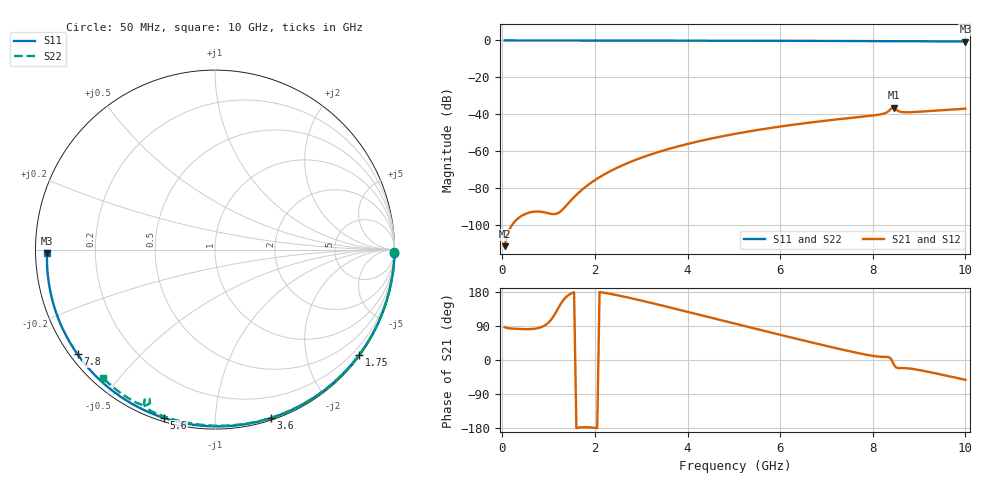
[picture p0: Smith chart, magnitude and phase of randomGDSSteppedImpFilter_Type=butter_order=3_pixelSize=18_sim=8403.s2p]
! freq	dB(S11)	phase(S11)	dB(S12)	phase(S12)
!  dB(S21)	phase(S21)	dB(S22)	phase(S22)
!S-par simulation data
#  GHz  S  DB  R 50
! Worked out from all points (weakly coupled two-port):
!   200 points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, 50 MHz to 10 GHz, reference 50 ohm
!   highest |S21| = -36.46 dB at 8.45 GHz (marker M1); lowest = -111.7 dB at 50 MHz (marker M2)
!   lowest |S11| = -0.6 dB at 10 GHz (marker M3), VSWR 30.31, Z = 1.65 - j0.503 ohm
!   |S11| at or under -10 dB: nowhere
!   |S22| runs from -0.8 to 0.0 dB; largest |S21 - S12| = 0
!   S11 on the Smith chart (normalised r, x): 50 MHz: open; 1.75 GHz: 0.03, -3.08; 3.6 GHz: 0.02, -1.38; 5.6 GHz: 0.02, -0.74; 7.8 GHz: 0.02, -0.34; 10 GHz: 0.03, -0.01
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0.05  -0.00 -1.1  -111.73 86.6  -111.73 86.6  -0.00 -0.8
0.85  -0.02 -17.7  -93.07 87.1  -93.07 87.1  -0.02 -12.9
1.75  -0.05 -36.0  -80.47 -177.4  -80.47 -177.4  -0.03 -26.2
2.15  -0.06 -44.0  -73.49 178.4  -73.49 178.4  -0.04 -32.1
2.5  -0.06 -50.8  -68.90 170.5  -68.90 170.5  -0.05 -37.1
2.9  -0.08 -58.5  -64.66 159.8  -64.66 159.8  -0.06 -42.9
3.4  -0.09 -68.0  -60.37 145.2  -60.37 145.2  -0.07 -49.9
3.6  -0.10 -71.7  -58.88 139.2  -58.88 139.2  -0.07 -52.7
4.3  -0.12 -84.4  -54.43 118.0  -54.43 118.0  -0.09 -62.3
5.05  -0.15 -97.5  -50.62 95.1  -50.62 95.1  -0.11 -72.3
5.6  -0.18 -106.8  -48.27 78.5  -48.27 78.5  -0.13 -79.4
6.7  -0.24 -125.0  -44.42 45.7  -44.42 45.7  -0.18 -93.2
7.8  -0.33 -142.7  -41.33 15.3  -41.33 15.3  -0.25 -106.7
8.2  -0.37 -149.1  -39.98 8.3  -39.98 8.3  -0.30 -112.0
8.3  -0.38 -150.7  -39.10 8.2  -39.10 8.2  -0.37 -113.7
8.35  -0.38 -151.5  -38.20 7.5  -38.20 7.5  -0.48 -114.7
8.4  -0.39 -152.3  -36.92 2.2  -36.92 2.2  -0.70 -115.1
8.45  -0.39 -153.1  -36.46 -10.9  -36.46 -10.9  -0.84 -113.7
8.55  -0.40 -154.8  -38.33 -21.3  -38.33 -21.3  -0.50 -113.5
8.7  -0.42 -157.2  -39.02 -21.4  -39.02 -21.4  -0.38 -115.8
9.35  -0.49 -167.9  -38.12 -35.0  -38.12 -35.0  -0.39 -123.8
10  -0.57 -178.8  -37.05 -52.4  -37.05 -52.4  -0.45 -131.3
